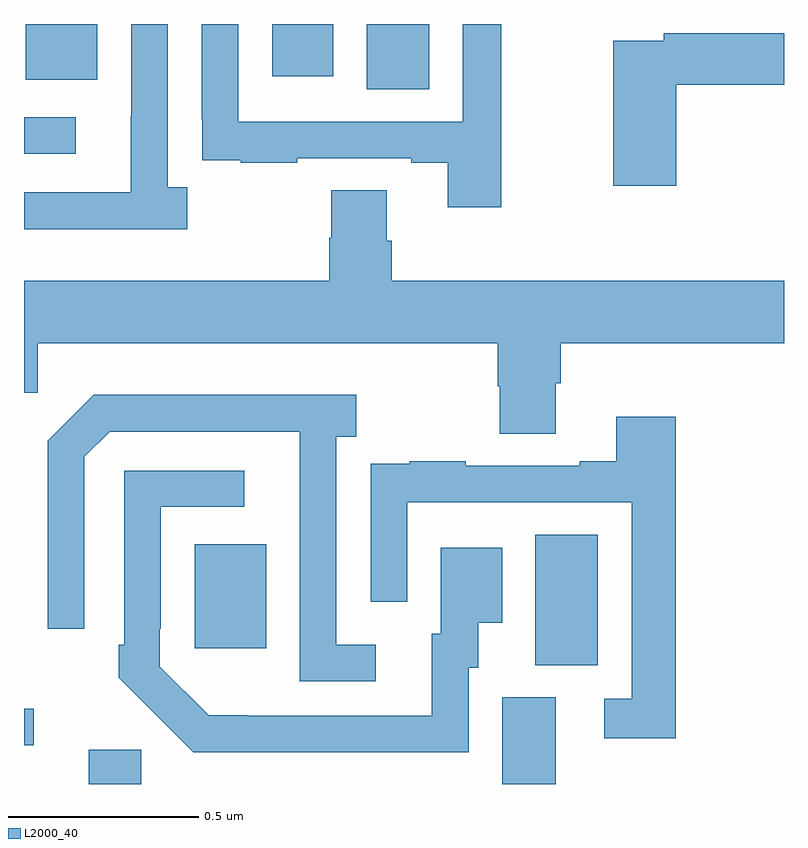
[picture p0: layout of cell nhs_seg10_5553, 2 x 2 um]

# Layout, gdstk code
import gdstk
lib = gdstk.Library(unit=1e-6, precision=1e-09)
def R(c, l, rs):  # rectangles x0, y0, x1, y1
    for r in rs: c.add(gdstk.rectangle(r[:2], r[2:], *l))
def P(c, l, *ps):  # polygons
    for p in ps: c.add(gdstk.Polygon(p, *l))
L2000_40 = (2000, 40)

nhs_seg10_5553 = lib.new_cell('nhs_seg10_5553')
R(nhs_seg10_5553, L2000_40, [(180.17,1288.5,180.309,1288.59), (181.259,1288.5,181.399,1288.728), (180,1288.602,180.025,1288.698), (181.346,1288.813,181.51,1289.156), (180.449,1288.857,180.637,1289.131), (180,1290.159,180.136,1290.255), (180.902,1290.328,181.066,1290.5), (180.005,1290.353,180.193,1290.5), (180.653,1290.363,180.814,1290.5)])
P(nhs_seg10_5553, L2000_40, [(180.43,1290.07),(180.378,1290.07),(180.378,1290.5),(180.282,1290.5),(180.282,1290.257),(180.281,1290.257),(180.281,1290.057),(180,1290.057),(180,1289.96),(180.43,1289.96)],
  [(181.256,1290.5),(181.155,1290.5),(181.155,1290.243),(180.564,1290.243),(180.564,1290.5),(180.468,1290.5),(180.468,1290.25),(180.469,1290.25),(180.469,1290.141),(180.571,1290.141),(180.571,1290.135),(180.719,1290.135),(180.719,1290.147),(181.019,1290.147),(181.019,1290.135),(181.115,1290.135),(181.115,1290.018),(181.256,1290.018)],
  [(181.716,1290.34),(182,1290.34),(182,1290.476),(181.684,1290.476),(181.684,1290.456),(181.55,1290.456),(181.55,1290.075),(181.716,1290.075)],
  [(181.399,1289.554),(181.412,1289.554),(181.412,1289.66),(182,1289.66),(182,1289.824),(180.968,1289.824),(180.968,1289.93),(180.955,1289.93),(180.955,1290.062),(180.808,1290.062),(180.808,1289.937),(180.803,1289.937),(180.803,1289.824),(180,1289.824),(180,1289.529),(180.036,1289.529),(180.036,1289.66),(181.247,1289.66),(181.247,1289.547),(181.252,1289.547),(181.252,1289.422),(181.399,1289.422)],
  [(180.925,1288.866),(180.822,1288.866),(180.822,1289.414),(180.874,1289.414),(180.874,1289.524),(180.184,1289.524),(180.063,1289.403),(180.063,1288.908),(180.159,1288.908),(180.159,1289.361),(180.225,1289.427),(180.725,1289.427),(180.725,1289.227),(180.726,1289.227),(180.726,1288.77),(180.925,1288.77)],
  [(181.715,1289.467),(181.559,1289.467),(181.559,1289.35),(181.463,1289.35),(181.463,1289.337),(181.163,1289.337),(181.163,1289.35),(181.015,1289.35),(181.015,1289.343),(180.913,1289.343),(180.913,1289.234),(180.912,1289.234),(180.912,1288.98),(181.008,1288.98),(181.008,1289.241),(181.599,1289.241),(181.599,1288.725),(181.527,1288.725),(181.527,1288.62),(181.715,1288.62)],
  [(181.17,1288.806),(181.195,1288.806),(181.195,1288.925),(181.258,1288.925),(181.258,1289.122),(181.097,1289.122),(181.097,1288.896),(181.073,1288.896),(181.073,1288.68),(180.589,1288.68),(180.589,1288.681),(180.486,1288.681),(180.357,1288.809),(180.357,1288.909),(180.36,1288.909),(180.36,1289.229),(180.58,1289.229),(180.58,1289.325),(180.264,1289.325),(180.264,1288.867),(180.249,1288.867),(180.249,1288.779),(180.354,1288.674),(180.355,1288.675),(180.446,1288.584),(181.17,1288.584)])

lib.write_gds('nhs_seg10_5553.gds')
